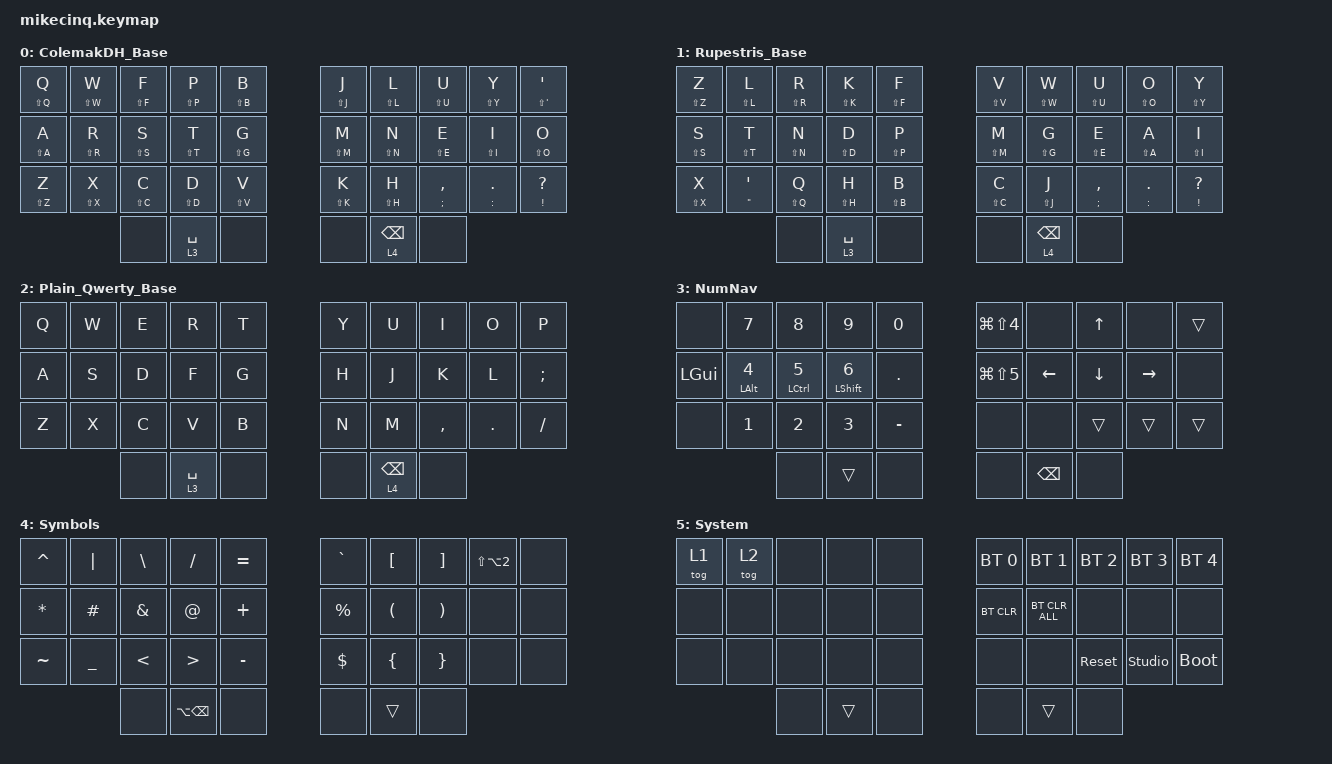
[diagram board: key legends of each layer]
#include <behaviors.dtsi>
#include <dt-bindings/zmk/bt.h>
#include <dt-bindings/zmk/keys.h>

/ {
    combos {
        compatible = "zmk,combos";

        CapsWord {
            bindings = <&caps_word>;
            key-positions = <13 16>;
            layers = <0 1>;
            timeout-ms = <20>;
            require-prior-idle-ms = <150>;
        };

        SystemLayer {
            bindings = <&mo 5>;
            key-positions = <31 34>;
            layers = <0 1 2>;
            timeout-ms = <50>;
            require-prior-idle-ms = <150>;
        };

        Enter {
            bindings = <&kp ENTER>;
            key-positions = <13 12>;
            layers = <0 3 1>;
            timeout-ms = <20>;
            require-prior-idle-ms = <150>;
        };

        Tab {
            bindings = <&kp TAB>;
            key-positions = <13 14>;
            timeout-ms = <20>;
            layers = <0 1>;
            require-prior-idle-ms = <150>;
        };

        Delete {
            bindings = <&kp DELETE>;
            key-positions = <3 2>;
            timeout-ms = <20>;
            layers = <0 1>;
            require-prior-idle-ms = <150>;
        };

        Escape {
            bindings = <&kp ESCAPE>;
            key-positions = <2 1>;
            timeout-ms = <20>;
            layers = <0 1>;
            require-prior-idle-ms = <150>;
        };

        Copy {
            bindings = <&kp LG(C)>;
            key-positions = <21 22>;
            layers = <1 0>;
            timeout-ms = <20>;
            require-prior-idle-ms = <150>;
        };

        Cut {
            bindings = <&kp LG(X)>;
            key-positions = <22 23>;
            layers = <0 1>;
            timeout-ms = <20>;
            require-prior-idle-ms = <150>;
        };

        Paste {
            bindings = <&kp LG(V)>;
            key-positions = <23 24>;
            layers = <0 1>;
            timeout-ms = <20>;
            require-prior-idle-ms = <150>;
        };

        Undo {
            bindings = <&kp LG(Z)>;
            key-positions = <12 11>;
            timeout-ms = <20>;
            require-prior-idle-ms = <150>;
            layers = <0 1>;
        };

        NumBackspace {
            bindings = <&kp BACKSPACE>;
            key-positions = <3 2>;
            timeout-ms = <20>;
            layers = <3>;
            require-prior-idle-ms = <150>;
        };
    };

    behaviors {
        as: as {
            compatible = "zmk,behavior-hold-tap";
            label = "AS";
            bindings = <&kp>, <&kp>;

            #binding-cells = <2>;
            tapping-term-ms = <175>;
            quick-tap-ms = <0>;
            flavor = "tap-preferred";
        };
    };

    keymap {
        compatible = "zmk,keymap";

        ColemakDH_Base {
            bindings = <
&as LS(Q) Q  &as LS(W) W  &as LS(F) F  &as LS(P) P  &as LS(B) B  &as LS(J) J  &as LS(L) L      &as LS(U) U          &as LS(Y) Y       &as LS(SQT) SQT
&as LS(A) A  &as LS(R) R  &as LS(S) S  &as LS(T) T  &as LS(G) G  &as LS(M) M  &as LS(N) N      &as LS(E) E          &as LS(I) I       &as LS(O) O
&as LS(Z) Z  &as LS(X) X  &as LS(C) C  &as LS(D) D  &as LS(V) V  &as LS(K) K  &as LS(H) H      &as SEMICOLON COMMA  &as COLON PERIOD  &as EXCLAMATION QUESTION
                          &none        &lt 3 SPACE  &none        &none        &lt 4 BACKSPACE  &none
            >;
        };

        Rupestris_Base {
            bindings = <
&as LS(Z) Z  &as LS(L) L                     &as LS(R) R  &as LS(K) K  &as LS(F) F  &as LS(V) V  &as LS(W) W      &as LS(U) U          &as LS(O) O       &as LS(Y) Y
&as LS(S) S  &as LS(T) T                     &as LS(N) N  &as LS(D) D  &as LS(P) P  &as LS(M) M  &as LS(G) G      &as LS(E) E          &as LS(A) A       &as LS(I) I
&as LS(X) X  &as DOUBLE_QUOTES SINGLE_QUOTE  &as LS(Q) Q  &as LS(H) H  &as LS(B) B  &as LS(C) C  &as LS(J) J      &as SEMICOLON COMMA  &as COLON PERIOD  &as EXCLAMATION QUESTION
                                             &none        &lt 3 SPACE  &none        &none        &lt 4 BACKSPACE  &none
            >;
        };

        Plain_Qwerty_Base {
            bindings = <
&kp Q  &kp W  &kp E  &kp R        &kp T  &kp Y  &kp U            &kp I      &kp O    &kp P
&kp A  &kp S  &kp D  &kp F        &kp G  &kp H  &kp J            &kp K      &kp L    &kp SEMI
&kp Z  &kp X  &kp C  &kp V        &kp B  &kp N  &kp M            &kp COMMA  &kp DOT  &kp FSLH
              &none  &lt 3 SPACE  &none  &none  &lt 4 BACKSPACE  &none
            >;
        };

        NumNav {
            bindings = <
&none         &kp NUMBER_7           &kp NUMBER_8        &kp NUMBER_9             &kp N0      &kp LG(LS(NUMBER_4))  &none          &kp UP    &none      &trans
&kp LEFT_GUI  &as LEFT_ALT NUMBER_4  &as LCTRL NUMBER_5  &as LEFT_SHIFT NUMBER_6  &kp PERIOD  &kp LG(LS(NUMBER_5))  &kp LEFT       &kp DOWN  &kp RIGHT  &none
&none         &kp NUMBER_1           &kp NUMBER_2        &kp NUMBER_3             &kp MINUS   &none                 &none          &trans    &trans     &trans
                                     &none               &trans                   &none       &none                 &kp BACKSPACE  &none
            >;
        };

        Symbols {
            bindings = <
&kp CARET     &kp PIPE   &kp BACKSLASH  &kp SLASH          &kp EQUAL  &kp GRAVE    &kp LEFT_BRACKET      &kp RIGHT_BRACKET      &kp LS(LA(NUMBER_2))  &none
&kp ASTERISK  &kp HASH   &kp AMPERSAND  &kp AT_SIGN        &kp PLUS   &kp PERCENT  &kp LEFT_PARENTHESIS  &kp RIGHT_PARENTHESIS  &none                 &none
&kp TILDE     &kp UNDER  &kp LESS_THAN  &kp GREATER_THAN   &kp MINUS  &kp DOLLAR   &kp LEFT_BRACE        &kp RIGHT_BRACE        &none                 &none
                         &none          &kp LA(BACKSPACE)  &none      &none        &trans                &none
            >;
        };

        System {
            bindings = <
&tog 1  &tog 2  &none  &none   &none  &bt BT_SEL 0  &bt BT_SEL 1    &bt BT_SEL 2  &bt BT_SEL 3    &bt BT_SEL 4
&none   &none   &none  &none   &none  &bt BT_CLR    &bt BT_CLR_ALL  &none         &none           &none
&none   &none   &none  &none   &none  &none         &none           &sys_reset    &studio_unlock  &bootloader
                &none  &trans  &none  &none         &trans          &none
            >;
        };
    };
};
